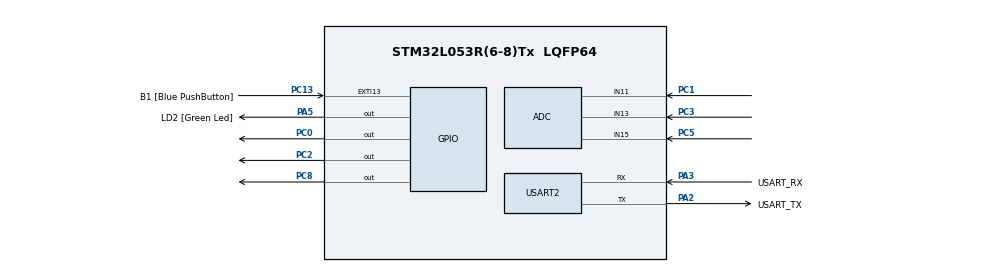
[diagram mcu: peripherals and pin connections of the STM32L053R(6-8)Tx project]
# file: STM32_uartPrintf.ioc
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ADC.ClockPrescaler=ADC_CLOCK_ASYNC_DIV16
ADC.SamplingTime=ADC_SAMPLETIME_39CYCLES_5
Mcu.Family=STM32L0
Mcu.Name=STM32L053R(6-8)Tx
Mcu.Package=LQFP64
NVIC.USART2_IRQn=true\:0\:0\:false\:false\:true\:true\:true\:true
PA13.GPIO_Label=TMS
PA13.Mode=Serial_Wire
PA13.Signal=SYS_SWDIO
PA14.GPIO_Label=TCK
PA14.Mode=Serial_Wire
PA14.Signal=SYS_SWCLK
PA2.GPIO_Label=USART_TX
PA2.Mode=Asynchronous
PA2.Signal=USART2_TX
PA3.GPIO_Label=USART_RX
PA3.Mode=Asynchronous
PA3.Signal=USART2_RX
PA5.GPIO_Label=LD2 [Green Led]
PA5.Signal=GPIO_Output
PC0.Signal=GPIO_Output
PC1.Mode=IN11
PC1.Signal=ADC_IN11
PC13.GPIO_Label=B1 [Blue PushButton]
PC13.GPIO_ModeDefaultEXTI=GPIO_MODE_IT_FALLING
PC13.Signal=GPXTI13
PC14-OSC32_IN.Mode=LSE-External-Oscillator
PC14-OSC32_IN.Signal=RCC_OSC32_IN
PC15-OSC32_OUT.Mode=LSE-External-Oscillator
PC15-OSC32_OUT.Signal=RCC_OSC32_OUT
PC2.Signal=GPIO_Output
PC3.Mode=IN13
PC3.Signal=ADC_IN13
PC5.Mode=IN15
PC5.Signal=ADC_IN15
PC8.Signal=GPIO_Output
PH0-OSC_IN.Mode=HSE-External-Clock-Source
PH0-OSC_IN.Signal=RCC_OSC_IN
PH1-OSC_OUT.Signal=RCC_OSC_OUT
ProjectManager.HeapSize=0x200
ProjectManager.StackSize=0x400
ProjectManager.TargetToolchain=STM32CubeIDE
RCC.AHBFreq_Value=16000000
RCC.APB1Freq_Value=16000000
RCC.APB1TimFreq_Value=16000000
RCC.APB2Freq_Value=16000000
RCC.APB2TimFreq_Value=16000000
RCC.HCLKFreq_Value=16000000
RCC.HSE_VALUE=8000000
RCC.HSI16_VALUE=16000000
RCC.HSI48_VALUE=48000000
RCC.HSI_VALUE=16000000
RCC.MSI_VALUE=2097000
RCC.SYSCLKFreq_VALUE=16000000
RCC.SYSCLKSource=RCC_SYSCLKSOURCE_HSI
RCC.VCOOutputFreq_Value=48000000
USART2.VirtualMode-Asynchronous=VM_ASYNC
VP_ADC_TempSens_Input.Mode=IN-TempSens
VP_ADC_Vref_Input.Mode=IN-Vrefint
board=NUCLEO-L053R8
wolfSSL.I-CUBE-wolfSSL.5.5.3.WOLF_CONF_MATH=4
wolfSSL.I-CUBE-wolfSSL.5.5.3.WOLF_CONF_RTOS=2

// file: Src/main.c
/* USER CODE BEGIN Header */
/**
  ******************************************************************************
  * @file           : main.c
  * @brief          : Main program body
  ******************************************************************************
  * @attention
  *
  * <h2><center>&copy; Copyright (c) 2019 STMicroelectronics.
  * All rights reserved.</center></h2>
  *
  * This software component is licensed by ST under BSD 3-Clause license,
  * the "License"; You may not use this file except in compliance with the
  * License. You may obtain a copy of the License at:
  *                        opensource.org/licenses/BSD-3-Clause
  *
  ******************************************************************************
  */

/* USER CODE END Header */
#include "main.h"
#include "adc.h"
#include "usart.h"
#include "gpio.h"

/* USER CODE BEGIN Includes */
#include <stdio.h>
#include <getch.h>
/* USER CODE END Includes */

/* USER CODE BEGIN PV */

char* CONF_PASSWORD = "password";
char password[50] = "";
uint16_t brightness_ref;
uint8_t first_brightness_mesure = 0;
uint16_t pressure_ref;
uint8_t first_pressure_mesure = 0;
uint16_t temperature_ref;
uint8_t first_temperature_mesure = 0;
uint64_t tick_1000ms_elapsed;
/* USER CODE END PV */

void SystemClock_Config(void);

/* USER CODE BEGIN 0 */

/**
  * @brief  Check if system is disabled or not
  * @retval bool
  */
uint8_t system_is_disabled() {
	if (!LL_GPIO_IsInputPinSet(GPIOC, LL_GPIO_PIN_2) && !LL_GPIO_IsInputPinSet(GPIOC, LL_GPIO_PIN_8)) {
		return 1;
	} else if (LL_GPIO_IsInputPinSet(GPIOC, LL_GPIO_PIN_2)) {
		return 1;
	} else {
		return 0;
	}
}

/**
  * @brief  reset measures
  * @retval None
  */
void reset_measure() { // reset measure
	first_brightness_mesure = 0;
	first_temperature_mesure = 0;
	first_pressure_mesure = 0;
}

/**
  * @brief  Enable system and activate alarm
  * @retval None
  */
void enable_system() { // enable system
	reset_measure();
	// check if led are active or not
	if ((!LL_GPIO_IsInputPinSet(GPIOC, LL_GPIO_PIN_2) && !LL_GPIO_IsInputPinSet(GPIOC, LL_GPIO_PIN_8)) || LL_GPIO_IsInputPinSet(GPIOC, LL_GPIO_PIN_2)) {
		printf("Système armé\r\n"); //print system enabling
			LL_GPIO_ResetOutputPin(GPIOC, LL_GPIO_PIN_2);
			LL_GPIO_SetOutputPin(GPIOC, LL_GPIO_PIN_8);
			// enable alarm (3 bip)
			for (int i=0; i<3; i++) {
				LL_GPIO_SetOutputPin(GPIOC, LL_GPIO_PIN_0); // set
				LL_mDelay(200); // 500ms delay
				LL_GPIO_ResetOutputPin(GPIOC, LL_GPIO_PIN_0); // reset
				LL_mDelay(200); // 500ms delay
			}
	} else {
		printf("Votre système est déjà armé\r\n");
	}

}

/**
  * @brief  Disable system and check user password
  * @retval None
  */
void disable_system() { // disable system
	memset(password, '\0', sizeof(password));
	char visible_password[50] = "";
	if ((!LL_GPIO_IsInputPinSet(GPIOC, LL_GPIO_PIN_2) && !LL_GPIO_IsInputPinSet(GPIOC, LL_GPIO_PIN_8)) || LL_GPIO_IsInputPinSet(GPIOC, LL_GPIO_PIN_8)) {
		printf("Veuillez saisir votre mot de passe:\r\n");
		while(1) {
			if (kbhit()) {
				char c = getch();
				int len = strlen(password);
				int len_v = strlen(visible_password);

				// reset password
				if (c == '*') {
					disable_system();
					break;
				}

				if (c == 0x08) {
					password[len] = '\0';
					visible_password[len_v] = '\0';
				} else {
					// print password
					visible_password[len_v] = '*';
					visible_password[len_v+1] = '\0';
					password[len] = c;
					password[len+1] = '\0';
				}

				printf("Mot de passe:%s\r\n", visible_password);
				// compare password
				if (strcmp(password, CONF_PASSWORD) == 0) {
					break;
				}
			}
		}

		printf("Désactivation du système\r\n"); //print system disabling
		LL_GPIO_SetOutputPin(GPIOC, LL_GPIO_PIN_2);
		LL_GPIO_ResetOutputPin(GPIOC, LL_GPIO_PIN_8);
		// disable alarm (2 bip)
		for (int i=0; i<2; i++) {
			LL_GPIO_SetOutputPin(GPIOC, LL_GPIO_PIN_0); // set
			LL_mDelay(200); // 500ms delay
			LL_GPIO_ResetOutputPin(GPIOC, LL_GPIO_PIN_0); // reset
			LL_mDelay(200); // 500ms delay
		}
	} else {
		printf("Votre système est déjà désarmé\r\n");
	}
}

/**
  * @brief  Start alert sound
  * @retval None
  */
void launch_alert(char* category) {
	// start alarm
	while (1) {
		printf("ALERTE!! Système compromis\r\n");
		printf("Erreur de %s\r\n", category);
		LL_GPIO_SetOutputPin(GPIOC, LL_GPIO_PIN_0); // set
		LL_mDelay(100); // 500ms delay
		LL_GPIO_ResetOutputPin(GPIOC, LL_GPIO_PIN_0); // reset
		LL_mDelay(100); // 500ms delay
		if (kbhit()) {
			// stop alarm
			if (getch() == 's') {
				printf("Alerte désactivée\r\n");
				disable_system();
				break;
			}
		}
	}
}

/**
  * @brief Compare current measure with references
  * @retval None
  */
void check_values(uint16_t ref, uint16_t current_value, uint16_t threshold, char* category) {
	// compare values with references
	if (current_value < (ref / 2) || current_value > (ref * 2)) {
		launch_alert(category);
	}
}

/**
  * @brief  Measure brightness and update reference if it's first one
  * @retval None
  */
void check_brightness(uint16_t threshold) {
	// check brightness level
	if (system_is_disabled() == 0) {
		// launch conversion
		LL_ADC_REG_SetSequencerChannels(ADC1, LL_ADC_CHANNEL_11);
		LL_ADC_REG_StartConversion(ADC1);
		// wait
		while(!LL_ADC_IsActiveFlag_EOC(ADC1));
		int t = LL_ADC_REG_ReadConversionData12(ADC1);
		if (first_brightness_mesure == 0) {
		  brightness_ref = t;
		  first_brightness_mesure = 1;
		}
		printf("Brightness:%i\r\n\n", t);
		// compare values
		check_values(brightness_ref, t, threshold, "Luminosité");
	}
}

/**
  * @brief  Measure pressure level and update reference if it's first one
  * @retval None
  */
void check_pressure(uint16_t threshold) {
	// check pressure level
	if (system_is_disabled() == 0) {
		LL_ADC_REG_SetSequencerChannels(ADC1, LL_ADC_CHANNEL_13);
		LL_ADC_REG_StartConversion(ADC1);
		while(!LL_ADC_IsActiveFlag_EOC(ADC1));
		int p = LL_ADC_REG_ReadConversionData12(ADC1);
		if (first_pressure_mesure == 0) {
		  pressure_ref = p;
		  first_pressure_mesure = 1;
		}
		printf("Pressure:%i\r\n\n", p);
		check_values(pressure_ref, p, threshold, "Pression");
	}
}

/**
  * @brief  Measure temperature and update reference if it's first one
  * @retval None
  */
void check_temperature(uint16_t threshold) {
	// check temperature level
	if (system_is_disabled() == 0) {
		LL_ADC_REG_SetSequencerChannels(ADC1, LL_ADC_CHANNEL_15);
		LL_ADC_REG_StartConversion(ADC1);
		while(!LL_ADC_IsActiveFlag_EOC(ADC1));
		int h = LL_ADC_REG_ReadConversionData12(ADC1);
		if (first_temperature_mesure == 0) {
		  temperature_ref = h;
		  first_temperature_mesure = 1;
		}
		uint16_t tension = (h*3300) / 4096;
		uint16_t temp = (tension - 500) / 10;
		printf("Temperature:%i°c (%imV)\r\n\n", temp, tension);
		check_values(temperature_ref, h, threshold, "Temperature");
	}
}

/* USER CODE END 0 */

int main(void)
{

  /* MCU Configuration--------------------------------------------------------*/

  /* Reset of all peripherals, Initializes the Flash interface and the Systick. */
  LL_APB2_GRP1_EnableClock(LL_APB2_GRP1_PERIPH_SYSCFG);
  LL_APB1_GRP1_EnableClock(LL_APB1_GRP1_PERIPH_PWR);

  /* Configure the system clock */
  SystemClock_Config();

  /* Initialize all configured peripherals */
  MX_GPIO_Init();
  MX_USART2_UART_Init();
  MX_ADC_Init();
  /* USER CODE BEGIN 2 */
  getchInit();
  LL_USART_EnableIT_RXNE(USART2);
  printf("Ready !!!!\r\n"); //print it
  // printf("\x1B[2J"); //Efface l'écran
  LL_ADC_Enable(ADC1);
  LL_SYSTICK_EnableIT();
  LL_ADC_SetCommonPathInternalCh(__LL_ADC_COMMON_INSTANCE(ADC1),
  LL_ADC_PATH_INTERNAL_TEMPSENSOR|LL_ADC_PATH_INTERNAL_VREFINT);

  /* USER CODE END 2 */

  /* Infinite loop */
  /* USER CODE BEGIN WHILE */
  while (1)
  {
	if (tick_1000ms_elapsed == 1) {
		/* each seconds */
		if (system_is_disabled() == 0) {
			printf("\n---------------------------------------\r\n");
			printf("\n------------ Parameters --------------- \r\n");
			check_temperature(5000);
			check_brightness(5000);
			check_pressure(5000);
			printf("---------------------------------------\r\n");
		}
		/* reset tick */
		tick_1000ms_elapsed = 0;
	}
	if (kbhit()) /* if one char received on USART2 */
	{
	  switch(getch()) {
	  case '1': /* enable */
		  enable_system();
		  break;
	  case '0': /* disable */
		  disable_system();
		  break;
	  case 'a': /* launch alert */
		  launch_alert("manual");
		  break;
	  }
	}
    /* USER CODE END WHILE */

  }
}

void SystemClock_Config(void)
{
  LL_FLASH_SetLatency(LL_FLASH_LATENCY_0);
  while(LL_FLASH_GetLatency()!= LL_FLASH_LATENCY_0)
  {
  }
  LL_PWR_SetRegulVoltageScaling(LL_PWR_REGU_VOLTAGE_SCALE1);
  LL_RCC_HSI_Enable();

   /* Wait till HSI is ready */
  while(LL_RCC_HSI_IsReady() != 1)
  {

  }
  LL_RCC_HSI_SetCalibTrimming(16);
  LL_RCC_SetAHBPrescaler(LL_RCC_SYSCLK_DIV_1);
  LL_RCC_SetAPB1Prescaler(LL_RCC_APB1_DIV_1);
  LL_RCC_SetAPB2Prescaler(LL_RCC_APB2_DIV_1);
  LL_RCC_SetSysClkSource(LL_RCC_SYS_CLKSOURCE_HSI);

   /* Wait till System clock is ready */
  while(LL_RCC_GetSysClkSource() != LL_RCC_SYS_CLKSOURCE_STATUS_HSI)
  {

  }

  LL_Init1msTick(16000000);

  LL_SetSystemCoreClock(16000000);
  LL_RCC_SetUSARTClockSource(LL_RCC_USART2_CLKSOURCE_PCLK1);
}

/* USER CODE BEGIN 4 */
int _write(int file,char * ptr, int len)
{
  for (int i=0; i<len;i++)
  {
    while(LL_USART_IsActiveFlag_TXE(USART2)==0);
    LL_USART_TransmitData8(USART2,*ptr);
    ptr++;
  }
return len;
}
/* USER CODE END 4 */

void Error_Handler(void)
{
}
